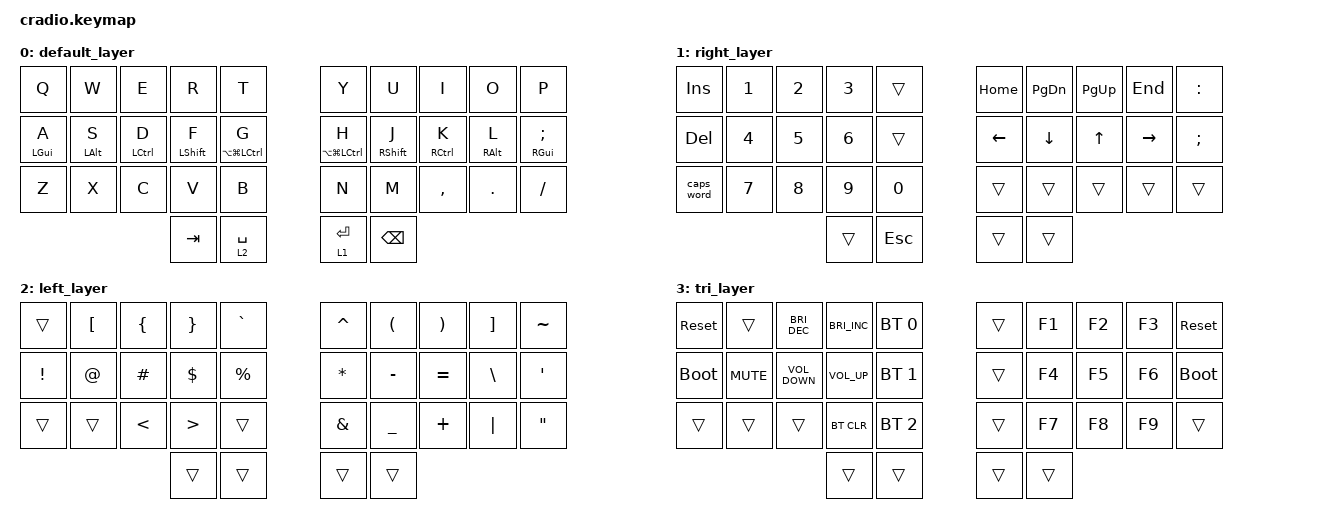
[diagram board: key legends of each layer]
// Copyright (c) 2022 The ZMK Contributors
// SPDX-License-Identifier: MIT

#include <behaviors.dtsi>
#include <dt-bindings/zmk/bt.h>
#include <dt-bindings/zmk/keys.h>

/ {
    behaviors {
        ht: hold_tap {
            compatible = "zmk,behavior-hold-tap";
            #binding-cells = <2>;
            flavor = "tap-preferred";
            tapping-term-ms = <220>;
            quick-tap-ms = <150>;
            require-prior-idle-ms = <100>;
            bindings = <&kp>, <&kp>;
        };

        hrm: hrm {
            compatible = "zmk,behavior-hold-tap";
            #binding-cells = <2>;
            flavor = "balanced";
            tapping-term-ms = <200>;
            quick-tap-ms = <200>;
            require-prior-idle-ms = <90>;
            bindings = <&kp>, <&kp>;
        };
    };

    conditional_layers {
        compatible = "zmk,conditional-layers";

        tri_layer {
            if-layers = <1 2>;
            then-layer = <3>;
        };
    };

    macros {
        hyper: hyper {
            compatible = "zmk,behavior-macro";
            #binding-cells = <0>;
            bindings = <&kp LA(LS(LG(LCTRL)))>;
            label = "HYPER";
        };
    };

    keymap {
        compatible = "zmk,keymap";

        default_layer {
            bindings = <
&kp Q        &kp W        &kp E         &kp R         &kp T                   &kp Y                 &kp U          &kp I         &kp O        &kp P
&hrm LGUI A  &hrm LALT S  &hrm LCTRL D  &hrm LSHFT F  &hrm LA(LG(LCTRL)) G    &hrm LA(LG(LCTRL)) H  &hrm RSHFT J   &hrm RCTRL K  &hrm RALT L  &hrm RGUI SEMICOLON
&kp Z        &kp X        &kp C         &kp V         &kp B                   &kp N                 &kp M          &kp COMMA     &kp DOT      &kp FSLH
                                        &kp TAB       &lt 2 SPACE             &lt 1 ENTER           &kp BACKSPACE
            >;
        };

        right_layer {
            bindings = <
&kp INS     &kp N1  &kp N2  &kp N3  &trans     &kp HOME  &kp PG_DN  &kp PG_UP  &kp END    &kp COLON
&kp DEL     &kp N4  &kp N5  &kp N6  &trans     &kp LEFT  &kp DOWN   &kp UP     &kp RIGHT  &kp SEMI
&caps_word  &kp N7  &kp N8  &kp N9  &kp N0     &trans    &trans     &trans     &trans     &trans
                            &trans  &kp ESC    &trans    &trans
            >;
        };

        left_layer {
            bindings = <
&trans    &kp LBKT  &kp LBRC       &kp RBRC          &kp GRAVE    &kp CARET  &kp LPAR   &kp RPAR   &kp RBKT  &kp TILDE
&kp EXCL  &kp AT    &kp HASH       &kp DLLR          &kp PRCNT    &kp ASTRK  &kp MINUS  &kp EQUAL  &kp BSLH  &kp APOSTROPHE
&trans    &trans    &kp LESS_THAN  &kp GREATER_THAN  &trans       &kp AMPS   &kp UNDER  &kp PLUS   &kp PIPE  &kp DOUBLE_QUOTES
                                   &trans            &trans       &trans     &trans
            >;
        };

        tri_layer {
            bindings = <
&sys_reset   &trans      &kp C_BRIGHTNESS_DEC  &kp C_BRIGHTNESS_INC  &bt BT_SEL 0    &trans  &kp F1  &kp F2  &kp F3  &sys_reset
&bootloader  &kp C_MUTE  &kp C_VOLUME_DOWN     &kp C_VOLUME_UP       &bt BT_SEL 1    &trans  &kp F4  &kp F5  &kp F6  &bootloader
&trans       &trans      &trans                &bt BT_CLR            &bt BT_SEL 2    &trans  &kp F7  &kp F8  &kp F9  &trans
                                               &trans                &trans          &trans  &trans
            >;
        };
    };
};
